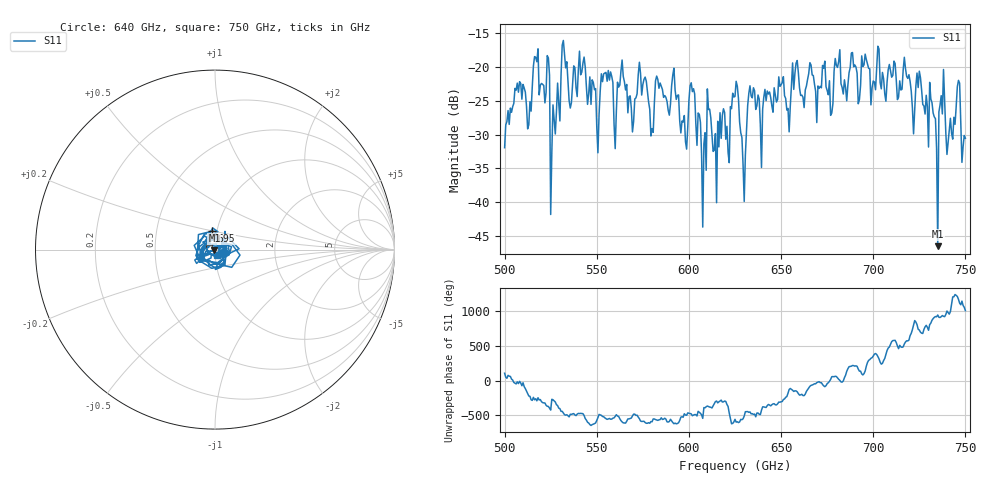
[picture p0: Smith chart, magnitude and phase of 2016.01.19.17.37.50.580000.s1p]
!Created with skrf (http://scikit-rf.org).
# GHz S RI R 50.0
!freq ReS11 ImS11
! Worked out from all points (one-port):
!   401 points, 500 GHz to 750 GHz, reference 50 ohm
!   lowest |S11| = -46.5 dB at 735 GHz (marker M1), VSWR 1.01, Z = 49.7 - j0.343 ohm
!   |S11| at or under -10 dB: start of sweep to end of sweep
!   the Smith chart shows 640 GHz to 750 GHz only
!   S11 on the Smith chart (normalised r, x): 640 GHz: 1.09, -0.04; 695 GHz: 0.95, +0.20; 750 GHz: 1.02, -0.06
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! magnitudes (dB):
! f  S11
! 500 GHz  -31.9
! 506.9 GHz  -22.4
! 513.1 GHz  -28.6
! 516.9 GHz  -18.6
! 523.1 GHz  -18.3
! 526.2 GHz  -25.6
! 531.2 GHz  -16.8
! 550.6 GHz  -32.7
! 562.5 GHz  -22.7
! 579.4 GHz  -30.2
! 583.1 GHz  -21.8
! 593.8 GHz  -24.2
! 598.1 GHz  -31.0
! 601.9 GHz  -23.6
! 608.1 GHz  -31.4
! 611.2 GHz  -26.2
! 613.8 GHz  -32.3
! 625 GHz  -24.4
! 629.4 GHz  -34.5
! 633.8 GHz  -24.3
! 640 GHz  -26.2
! 656.2 GHz  -19.4
! 687.5 GHz  -20.1
! 695 GHz  -19.7
! 718.8 GHz  -21.7
! 735 GHz  -46.5
! 737.5 GHz  -26.9
! 750 GHz  -30.5
